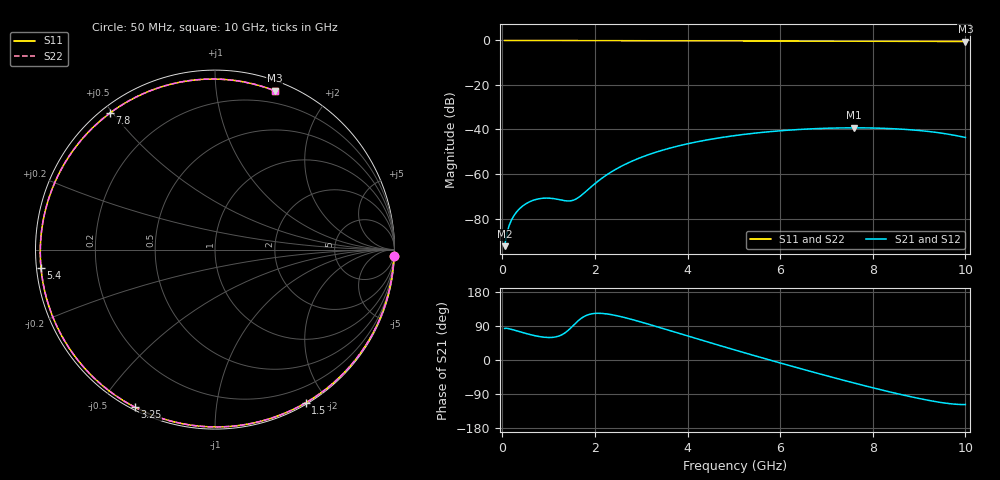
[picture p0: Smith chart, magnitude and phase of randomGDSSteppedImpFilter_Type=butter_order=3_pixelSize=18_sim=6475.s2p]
! freq	dB(S11)	phase(S11)	dB(S12)	phase(S12)
!  dB(S21)	phase(S21)	dB(S22)	phase(S22)
!S-par simulation data
#  GHz  S  DB  R 50
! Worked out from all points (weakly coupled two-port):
!   200 points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, 50 MHz to 10 GHz, reference 50 ohm
!   highest |S21| = -39.26 dB at 7.6 GHz (marker M1); lowest = -92.4 dB at 50 MHz (marker M2)
!   lowest |S11| = -0.5 dB at 10 GHz (marker M3), VSWR 35.56, Z = 4.34 + j72.1 ohm
!   |S11| at or under -10 dB: nowhere
!   |S22| runs from -0.5 to 0.0 dB; largest |S21 - S12| = 0
!   S11 on the Smith chart (normalised r, x): 50 MHz: 3, -54; 1.5 GHz: 0.02, -1.75; 3.25 GHz: 0.01, -0.61; 5.4 GHz: 0.01, -0.05; 7.8 GHz: 0.03, +0.49; 10 GHz: 0.09, +1.44
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0.05  -0.02 -2.1  -92.42 83.4  -92.42 83.4  -0.02 -2.1
0.2  -0.02 -8.2  -80.61 80.8  -80.61 80.8  -0.02 -8.2
0.45  -0.03 -18.4  -74.22 72.0  -74.22 72.0  -0.03 -18.4
0.75  -0.04 -30.5  -71.31 63.0  -71.31 63.0  -0.04 -30.5
1  -0.05 -40.3  -70.84 59.4  -70.84 59.4  -0.05 -40.3
1.5  -0.07 -59.3  -71.96 87.2  -71.96 87.2  -0.07 -59.3
1.75  -0.08 -68.4  -68.84 113.6  -68.84 113.6  -0.08 -68.4
2.1  -0.10 -80.7  -62.69 123.2  -62.69 123.2  -0.10 -80.7
2.4  -0.11 -90.7  -58.49 118.7  -58.49 118.7  -0.11 -90.7
2.8  -0.12 -103.5  -54.24 106.9  -54.24 106.9  -0.12 -103.5
3.25  -0.13 -117.0  -50.66 91.2  -50.66 91.2  -0.13 -117.0
3.4  -0.14 -121.4  -49.67 85.7  -49.67 85.7  -0.14 -121.4
4.2  -0.17 -143.4  -45.56 56.2  -45.56 56.2  -0.17 -143.4
5.05  -0.20 -165.2  -42.66 25.5  -42.66 25.5  -0.20 -165.2
5.4  -0.22 -173.9  -41.78 13.1  -41.78 13.1  -0.22 -173.9
6.05  -0.26 170.3  -40.51 -9.5  -40.51 -9.5  -0.26 170.3
6.7  -0.29 154.6  -39.69 -31.5  -39.69 -31.5  -0.29 154.6
7.6  -0.34 132.5  -39.26 -60.9  -39.26 -60.9  -0.34 132.5
7.8  -0.36 127.5  -39.28 -67.1  -39.28 -67.1  -0.36 127.5
8.35  -0.39 113.5  -39.57 -83.7  -39.57 -83.7  -0.39 113.5
9.2  -0.44 91.1  -40.88 -106.4  -40.88 -106.4  -0.44 91.2
10  -0.49 69.4  -43.59 -117.6  -43.59 -117.6  -0.49 69.4
